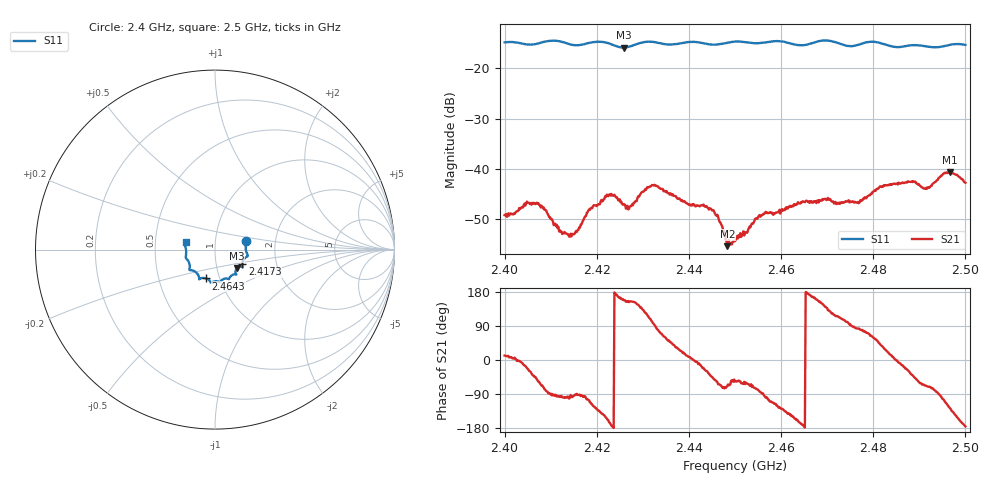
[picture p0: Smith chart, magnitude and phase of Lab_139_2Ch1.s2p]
# Hz S RI R 50
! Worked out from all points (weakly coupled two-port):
!   601 points, 2.4 GHz to 2.5 GHz, reference 50 ohm
!   highest |S21| = -40.56 dB at 2.4967 GHz (marker M1); lowest = -55.3 dB at 2.4483 GHz (marker M2)
!   lowest |S11| = -15.9 dB at 2.4258 GHz (marker M3), VSWR 1.38, Z = 62.3 - j13.3 ohm
!   |S11| at or under -10 dB: start of sweep to end of sweep
!   S12 and S22 are empty: the file has one direction only
!   S11 on the Smith chart (normalised r, x): 2.4 GHz: 1.41, +0.14; 2.4173 GHz: 1.34, -0.23; 2.4643 GHz: 0.86, -0.28; 2.5 GHz: 0.72, +0.06
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2.4e9  0.1732 0.0487  0.00342 0.000708  0 0  0 0
2.406833e9  0.1732 -0.00828  0.00305 -0.00338  0 0  0 0
2.412333e9  0.1786 -0.0386  -0.000197 -0.00239  0 0  0 0
2.4145e9  0.1629 -0.0511  -0.000255 -0.00213  0 0  0 0
2.416667e9  0.1529 -0.0747  -0.000134 -0.00281  0 0  0 0
2.417333e9  0.152 -0.0821  -0.000409 -0.00329  0 0  0 0
2.422333e9  0.1498 -0.095  -0.00513 -0.00212  0 0  0 0
2.425833e9  0.1215 -0.1037  -0.00412 0.00168  0 0  0 0
2.427333e9  0.1152 -0.1172  -0.00388 0.00182  0 0  0 0
2.431e9  0.1191 -0.1384  -0.00313 0.00584  0 0  0 0
2.433333e9  0.113 -0.1373  0.00124 0.00656  0 0  0 0
2.445e9  0.0555 -0.1615  0.00278 -0.00272  0 0  0 0
2.448333e9  0.0335 -0.175  0.000637 -0.0016  0 0  0 0
2.45e9  0.0288 -0.1807  0.00106 -0.0016  0 0  0 0
2.455667e9  -0.00396 -0.1772  0.000247 -0.00343  0 0  0 0
2.464333e9  -0.0502 -0.1606  -0.0046 -0.000926  0 0  0 0
2.466667e9  -0.076 -0.1589  -0.00464 0.00113  0 0  0 0
2.4765e9  -0.1213 -0.1173  0.000576 0.00461  0 0  0 0
2.483333e9  -0.1408 -0.0901  0.00656 0.00224  0 0  0 0
2.491667e9  -0.1611 -0.0287  0.00224 -0.00597  0 0  0 0
2.496667e9  -0.1685 0.0242  -0.0057 -0.00744  0 0  0 0
2.5e9  -0.1642 0.0423  -0.00729 -0.000609  0 0  0 0
